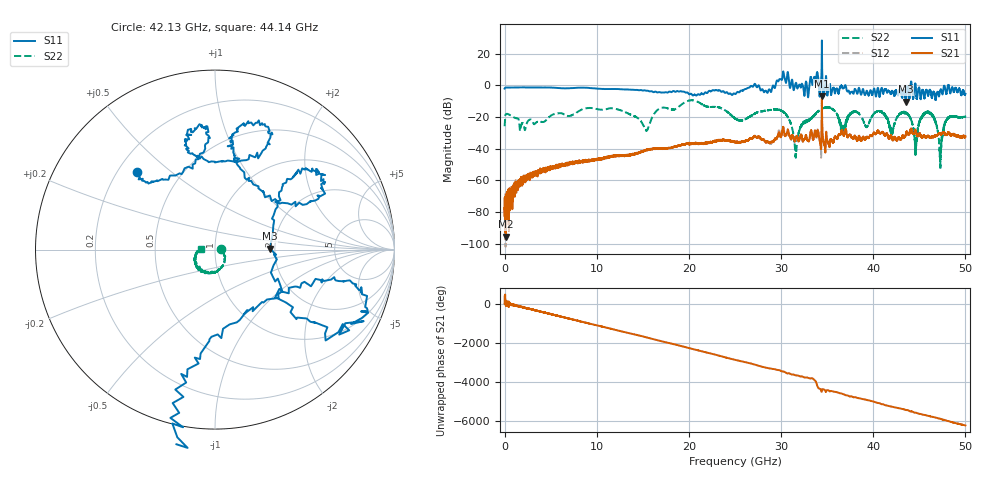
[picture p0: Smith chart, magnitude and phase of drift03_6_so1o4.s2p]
!Created with skrf (http://scikit-rf.org).
# Hz S RI R 50.0
!freq ReS11 ImS11 ReS21 ImS21 ReS12 ImS12 ReS22 ImS22
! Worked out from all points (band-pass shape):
!   10000 points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, 5.3 MHz to 50 GHz, reference 50 ohm
!   highest |S21| = -6.89 dB at 34.43 GHz (marker M1); lowest = -95.7 dB at 145.3 MHz (marker M2)
!   |S21| within 3 dB of the highest: 34.42712 GHz to 34.43435 GHz (7.232 MHz wide, 0.021 % of centre)
!   lowest |S11| = -10.3 dB at 43.53 GHz (marker M3), VSWR 1.88, Z = 93.9 + j1.17 ohm
!   |S11| at or under -10 dB: 43.52068 GHz to 43.53159 GHz (10.91 MHz wide, 0.0251 % of centre)
!   |S22| runs from -53.5 to -9.4 dB; largest |S21 - S12| = 0.15
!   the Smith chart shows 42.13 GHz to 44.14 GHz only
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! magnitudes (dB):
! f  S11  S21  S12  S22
! 5.3 MHz  -2.1  -78.0  -70.9  -25.9
! 145.3 MHz  -1.4  -95.7  -73.6  -18.2
! 2.285 GHz  -1.3  -57.7  -58.8  -27.0
! 8.34 GHz  -1.5  -48.2  -47.8  -15.4
! 15.38 GHz  -3.4  -41.0  -40.7  -28.6
! 16.67 GHz  -4.4  -40.0  -40.2  -15.3
! 20.45 GHz  -6.5  -36.6  -36.7  -9.5
! 25.01 GHz  -5.5  -35.8  -35.9  -21.0
! 29.99 GHz  3.8  -32.4  -32.6  -15.9
! 31.61 GHz  1.5  -33.6  -33.7  -45.8
! 33.34 GHz  2.5  -30.1  -30.4  -20.6
! 34.43 GHz  28.3  -6.9  -8.9  -14.6
! 36.71 GHz  -1.9  -30.3  -30.3  -28.3
! 37.93 GHz  -4.1  -32.9  -32.9  -16.7
! 41.67 GHz  -3.5  -33.5  -33.4  -23.8
! 43.53 GHz  -10.3  -31.2  -31.3  -17.4
! 44.6 GHz  -0.8  -28.8  -28.9  -42.2
! 45.27 GHz  -4.3  -33.1  -33.0  -20.0
! 46.25 GHz  -4.3  -33.1  -32.7  -17.3
! 47.29 GHz  -3.1  -30.6  -30.6  -49.4
! 48.1 GHz  -0.3  -30.3  -30.6  -20.5
! 50 GHz  -5.3  -32.2  -32.4  -19.6
